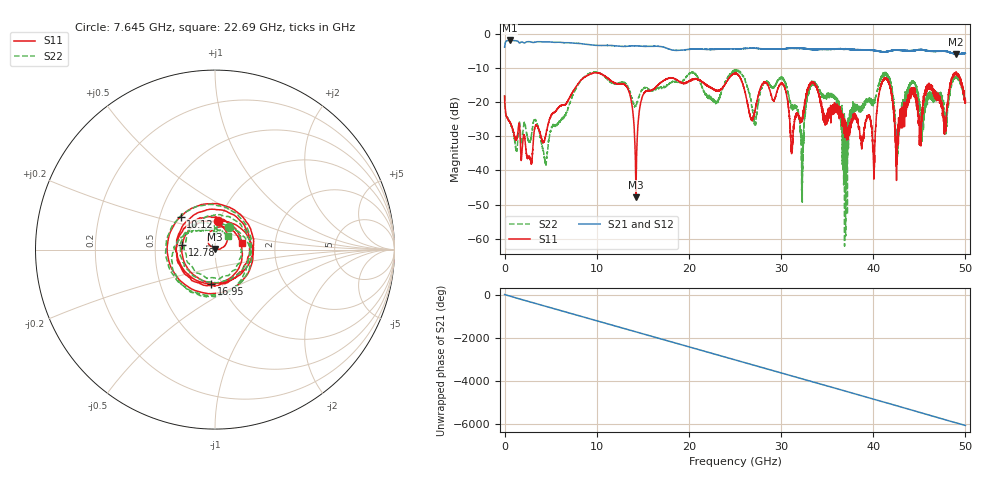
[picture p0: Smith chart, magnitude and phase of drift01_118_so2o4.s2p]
!Created with skrf (http://scikit-rf.org).
# Hz S RI R 50.0
!freq ReS11 ImS11 ReS21 ImS21 ReS12 ImS12 ReS22 ImS22
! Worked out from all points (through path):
!   10001 points, 300 kHz to 50 GHz, reference 50 ohm
!   highest |S21| = -2.00 dB at 575.3 MHz (marker M1); lowest = -6.0 dB at 48.98 GHz (marker M2)
!   group delay of S21, straight-line fit = 336 ps
!   lowest |S11| = -47.9 dB at 14.25 GHz (marker M3), VSWR 1.01, Z = 50.1 + j0.393 ohm
!   |S11| at or under -10 dB: start of sweep to end of sweep
!   |S22| runs from -62.2 to -10.5 dB; largest |S21 - S12| = 0.023
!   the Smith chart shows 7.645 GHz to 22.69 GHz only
!   S11 on the Smith chart (normalised r, x): 7.645 GHz: 0.98, +0.32; 10.12 GHz: 0.64, +0.25; 12.78 GHz: 0.69, +0.04; 16.95 GHz: 0.89, -0.35; 22.69 GHz: 1.35, +0.10
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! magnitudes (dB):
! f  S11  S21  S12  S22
! 300 kHz  -18.2  -4.0  -4.1  -18.0
! 575.3 MHz  -26.0  -2.0  -2.0  -25.9
! 4.445 GHz  -29.9  -2.4  -2.4  -37.6
! 7.645 GHz  -16.0  -2.8  -2.8  -16.7
! 8.335 GHz  -13.5  -3.0  -3.0  -13.5
! 10.12 GHz  -11.5  -3.4  -3.4  -11.4
! 12.78 GHz  -14.7  -3.8  -3.7  -14.3
! 14.25 GHz  -47.9  -3.6  -3.6  -21.2
! 16.67 GHz  -14.9  -3.7  -3.7  -15.8
! 16.95 GHz  -14.3  -3.8  -3.8  -15.7
! 22.69 GHz  -16.3  -4.6  -4.6  -19.5
! 25 GHz  -11.6  -4.5  -4.5  -10.9
! 27.15 GHz  -22.6  -4.2  -4.3  -26.3
! 30.21 GHz  -14.9  -4.5  -4.5  -13.5
! 32.27 GHz  -24.8  -4.3  -4.3  -38.5
! 33.34 GHz  -14.2  -4.6  -4.6  -14.8
! 36.96 GHz  -28.2  -4.6  -4.6  -35.9
! 40.06 GHz  -40.2  -4.9  -4.9  -20.2
! 41.67 GHz  -14.0  -5.1  -5.1  -12.9
! 42.57 GHz  -38.2  -4.8  -4.8  -30.9
! 48.98 GHz  -11.6  -6.0  -6.0  -12.6
! 50 GHz  -19.7  -5.8  -5.7  -19.6
